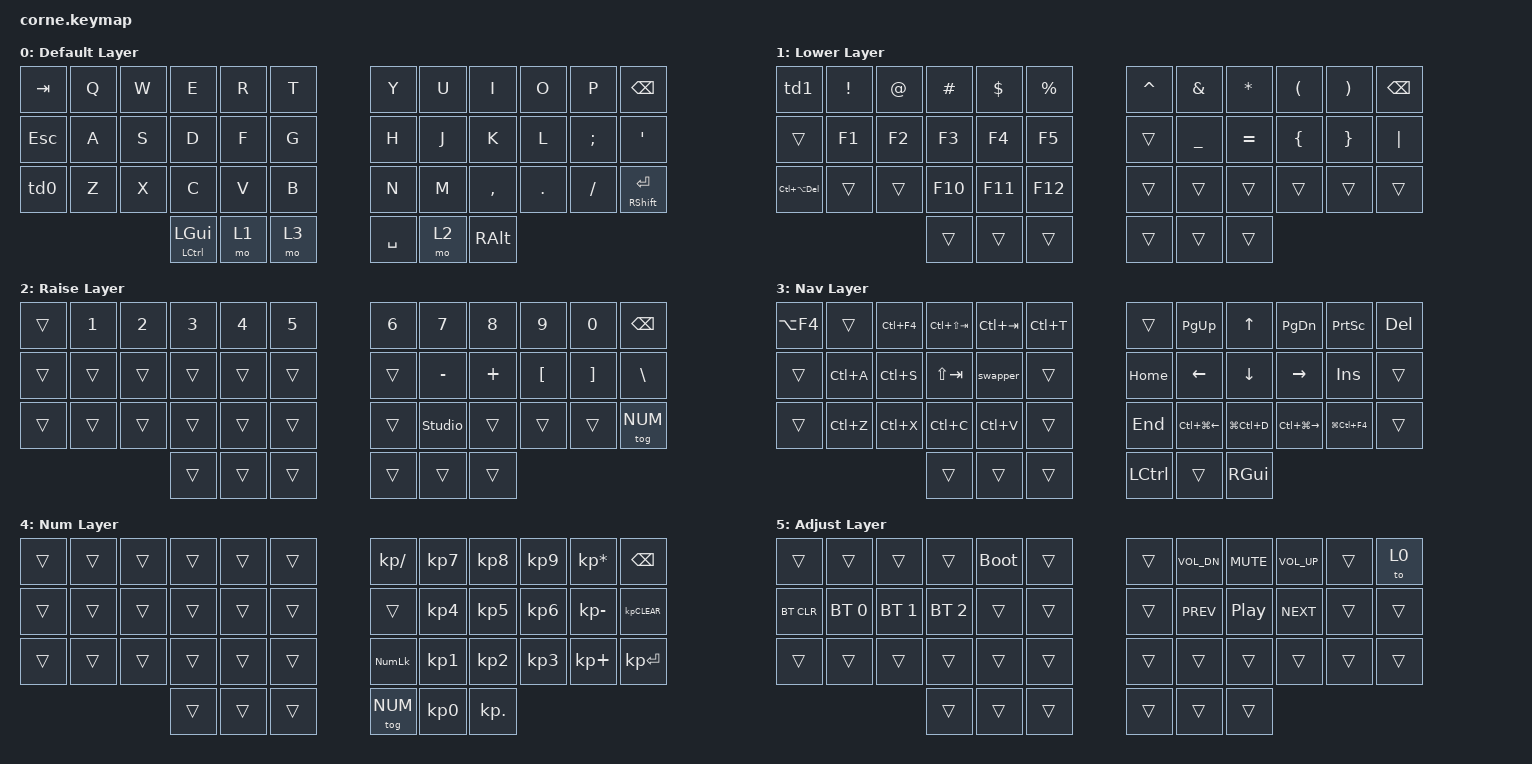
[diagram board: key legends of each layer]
/*
 * Copyright (c) 2020 The ZMK Contributors
 *
 * SPDX-License-Identifier: MIT
 */

#include <behaviors.dtsi>
#include <dt-bindings/zmk/keys.h>
#include <dt-bindings/zmk/bt.h>
#define QWERTY  0
#define LOWER   1
#define RAISE   2
#define NAV     3
#define NUM     4
#define ADJ     5

// Desktop and tab navigation shortcuts
#define D_NW   LG(LC(D))
#define D_CL   LG(LC(F4))
#define D_LT   LC(LG(LEFT))
#define D_RT   LC(LG(RIGHT))
#define TAB_RT LC(TAB)
#define TAB_LT LC(LS(TAB))
#define TAB_NW LC(T)
#define TAB_CL LC(F4)

// Key position groups
#define KEYS_L 0 1 2 3 4 5 12 13 14 15 16 17 24 25 26 27 28 29
#define KEYS_R 6 7 8 9 10 11 18 19 20 21 22 23 30 31 32 33 34 35
#define THUMBS 36 37 38 39 40 41

/ {     
        conditional_layers {
        compatible = "zmk,conditional-layers";
        tri_layer {
            if-layers = <1 2>;
            then-layer = <5>;
        };
    };

	behaviors {
        td0: tap_dance_0 {
            compatible = "zmk,behavior-tap-dance";
            #binding-cells = <0>;
            tapping-term-ms = <200>;
            bindings = <&kp LSHFT>, <&caps_word>;
        };
        
        td1: tap_dance_1 {
            compatible = "zmk,behavior-tap-dance";
            #binding-cells = <0>;
            tapping-term-ms = <200>;
            bindings = <&kp TILDE>, <&kp GRAVE>;
        };
        
        // Swapper for smart alt+tab
        swapper: swapper {
            compatible = "zmk,behavior-tri-state";
            #binding-cells = <0>;
            bindings = <&kt LALT>, <&kp TAB>, <&kt LALT>;
            ignored-key-positions = <15>;
        };
    };
        keymap {
                compatible = "zmk,keymap";

                default_layer {
                        display-name = "Default Layer";
// -----------------------------------------------------------------------------------------
// |  TAB |  Q  |  W  |  E  |  R  |  T  |   |  Y  |  U   |  I  |  O  |  P  | BSPC |
// |  ESC |  A  |  S  |  D  |  F  |  G  |   |  H  |  J   |  K  |  L  |  ;  |  '   |
// | SHFT |  Z  |  X  |  C  |  V  |  B  |   |  N  |  M   |  ,  |  .  |  /  |SHFT/ENT|
//                    | GUI | LWR | NAV |   | SPC | RSE  | ALT |
                        bindings = <
   &kp TAB   &kp Q &kp W &kp E &kp R &kp T   &kp Y &kp U  &kp I     &kp O   &kp P    &kp BSPC
   &kp ESC &kp A &kp S &kp D &kp F &kp G   &kp H &kp J  &kp K     &kp L   &kp SEMI &kp SQT
   &td0 &kp Z &kp X &kp C &kp V &kp B   &kp N &kp M  &kp COMMA &kp DOT &kp FSLH &mt RSHFT RET
                  &mt LCTRL LGUI &mo 1 &mo 3 &kp SPACE  &mo 2 &kp RALT
                        >;
                };
                lower_layer {
                        display-name = "Lower Layer";
// -----------------------------------------------------------------------------------------
// |TLD/GRV|  !  |  @  |  #  |  $  |  %  ||  ^  |  &  |  *  |  (  |  )  | BKSP |
// |       |  F1 |  F2 |  F3 |  F4 |  F5 ||     |  _  |  =  |  {  |  }  | "|"  |
// | UNLOCK|     |     | F10 | F11 | F12 ||     |     |     |     |     |      |
//                     |     |     |     ||     |     |     |
                        bindings = <
   &td1  &kp EXCL &kp AT &kp HASH &kp DLLR &kp PRCNT   &kp CARET &kp AMPS  &kp ASTERISK &kp LPAR &kp RPAR &kp BSPC
   &trans &kp F1 &kp F2 &kp F3 &kp F4 &kp F5  &trans &kp UNDER &kp EQUAL  &kp LBRC  &kp RBRC &kp PIPE
   &kp LC(LA(DEL))  &trans  &trans  &kp F10  &kp F11  &kp F12  &trans &trans &trans &trans &trans &trans
                           &trans &trans &trans &trans &trans &trans
                        >;
                };

                raise_layer {
                        display-name = "Raise Layer";
// -----------------------------------------------------------------------------------------
// |       |  1  |  2  |  3  |  4  |  5  ||  6  |  7  |  8  |  9  |  0  | BKSP |
// |       |     |     |     |     |     ||     |  -  |  +  |  [  |  ]  |  \   |
// |       |     |     |     |     |     ||     |     |     |     |     |  NUM |
//                     |     |     |     ||     |     |     |
                        bindings = <
   &trans  &kp N1  &kp N2  &kp N3  &kp N4  &kp N5   &kp N6  &kp N7  &kp N8  &kp N9  &kp N0 &kp BSPC
   &trans &trans   &trans &trans   &trans   &trans   &trans &kp MINUS &kp PLUS &kp LBKT  &kp RBKT &kp BSLH
   &trans &trans   &trans &trans   &trans   &trans   &trans &studio_unlock &trans &trans &trans &tog NUM
                    	     &trans &trans &trans &trans &trans &trans
                        >;
                };
        
				nav_layer {
                        display-name = "Nav Layer";
// -----------------------------------------------------------------------------------------
// |ALTF4|     |TB CL|TB LT|TB RT|TB NW||     | PGU |  Up | PGD | PRT | DEL |
// |     | ALL |Save |SALTB|ALTTB|     ||  HM |  Lt |  Dn |  Rt | INS |     |
// |     | UNDO| CUT | COP | PST |     ||  ED |DT LT|DT NW|DT RT|DT CL|     |
//                   |     |     |     || CTL |     | GUI |
                        bindings = <
   &kp LA(F4)  &trans  &kp TAB_CL &kp TAB_LT  &kp TAB_RT  &kp TAB_NW  &trans  &kp PG_UP  &kp UP  &kp PG_DN  &kp PSCRN  &kp DEL
   &trans  &kp LC(A)  &kp LC(S)  &kp LS(TAB)  &swapper  &trans &kp HOME   &kp LEFT  &kp DOWN  &kp RIGHT  &kp INS  &trans
   &trans  &kp LC(Z)  &kp LC(X)  &kp LC(C)  &kp LC(V)  &trans  &kp END  &kp D_LT  &kp D_NW  &kp D_RT  &kp D_CL  &trans
                           &trans  &trans  &trans  &kp LCTRL  &trans  &kp RGUI
                        >;
                };
				
				num_layer {
                        display-name = "Num Layer";
// -----------------------------------------------------------------------------------------
// |     |     |     |     |     |     ||  /  |  7  |  8  |  9  |  *  | BKS |
// |     |     |     |     |     |     ||     |  4  |  5  |  6  |  -  | CLR |
// |     |     |     |     |     |     ||NMLCK|  1  |  2  |  3  |  +  | ENT |
//                   |     |     |     || EXT |  0  |  .  |
                        bindings = <
   &trans  &trans  &trans  &trans  &trans  &trans  &kp KP_DIVIDE  &kp KP_N7  &kp KP_N8  &kp KP_N9  &kp KP_MULTIPLY  &kp BSPC
   &trans  &trans  &trans  &trans  &trans  &trans  &trans  &kp KP_N4  &kp KP_N5  &kp KP_N6  &kp KP_MINUS  &kp KP_CLEAR
   &trans  &trans  &trans  &trans  &trans  &trans  &kp KP_NUM  &kp KP_N1  &kp KP_N2  &kp KP_N3  &kp KP_PLUS  &kp KP_ENTER
                           &trans  &trans  &trans  &tog NUM  &kp KP_N0  &kp KP_DOT
                        >;
                };
				
				adj_layer {
                        display-name = "Adjust Layer";
// -----------------------------------------------------------------------------------------
// |     |     |     |     |RESET|     ||     | V-  | MUT | V+  |     |QWERTY|
// |BTCLR| BT0 | BT1 | BT2 |     |     ||     | PRE |PL/PS| NXT |     |      |
// |     |     |     |     |     |     ||     |     |     |     |     |      |
//                   |     |     |     ||     |     |     |
                        bindings = <
   &trans  &trans  &trans  &trans  &bootloader  &trans  &trans  &kp C_VOL_DN  &kp C_MUTE  &kp C_VOL_UP  &trans  &to 0
   &bt BT_CLR  &bt BT_SEL 0  &bt BT_SEL 1  &bt BT_SEL 2  &trans  &trans  &trans  &kp C_PREV  &kp C_PP  &kp C_NEXT  &trans  &trans
   &trans  &trans  &trans  &trans  &trans  &trans  &trans  &trans  &trans  &trans  &trans  &trans
                           &trans  &trans  &trans  &trans  &trans  &trans
                        >;
                };

};
};
